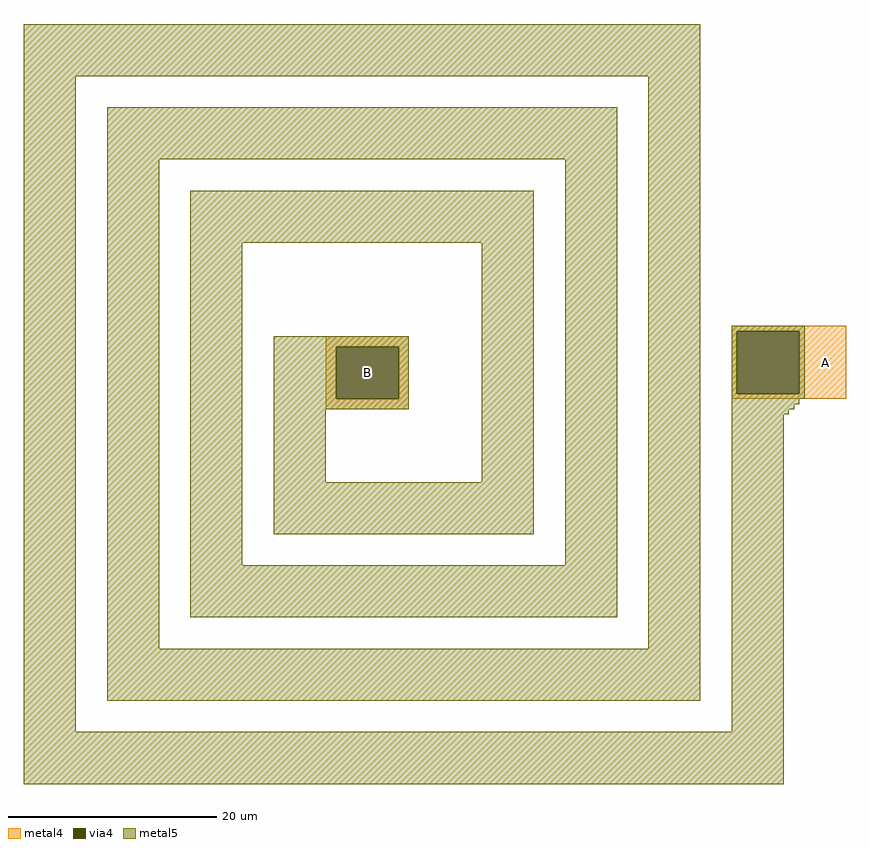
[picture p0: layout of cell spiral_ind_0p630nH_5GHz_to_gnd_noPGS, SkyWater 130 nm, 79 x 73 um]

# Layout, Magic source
magic
tech sky130A
<< metal4 >>
rect 6800 3550 7900 3600
rect 2900 3400 3700 3500
rect 2900 2900 3000 3400
rect 3600 2900 3700 3400
rect 6800 2950 6850 3550
rect 7450 2950 7900 3550
rect 6800 2900 7900 2950
rect 2900 2800 3700 2900
<< via4 >>
rect 3000 2900 3600 3400
rect 6850 2950 7450 3550
<< metal5 >>
rect 0 6000 6500 6500
rect 0 -300 500 6000
rect 800 5200 5700 5700
rect 800 500 1300 5200
rect 1600 4400 4900 4900
rect 1600 1300 2100 4400
rect 2400 3400 3700 3500
rect 2400 2900 3000 3400
rect 3600 2900 3700 3400
rect 2400 2800 3700 2900
rect 2400 2100 2900 2800
rect 4400 2100 4900 4400
rect 2400 1600 4900 2100
rect 5200 1300 5700 5200
rect 1600 800 5700 1300
rect 6000 500 6500 6000
rect 800 0 6500 500
rect 6800 3550 7500 3600
rect 6800 2950 6850 3550
rect 7450 2950 7500 3550
rect 6800 2900 7500 2950
rect 6800 2850 7450 2900
rect 6800 2800 7400 2850
rect 6800 2750 7350 2800
rect 6800 -300 7300 2750
rect 0 -800 7300 -300
<< labels >>
rlabel metal5 2900 2800 3700 3500 1 B
rlabel metal4 7500 2900 7900 3600 1 A
<< end >>
